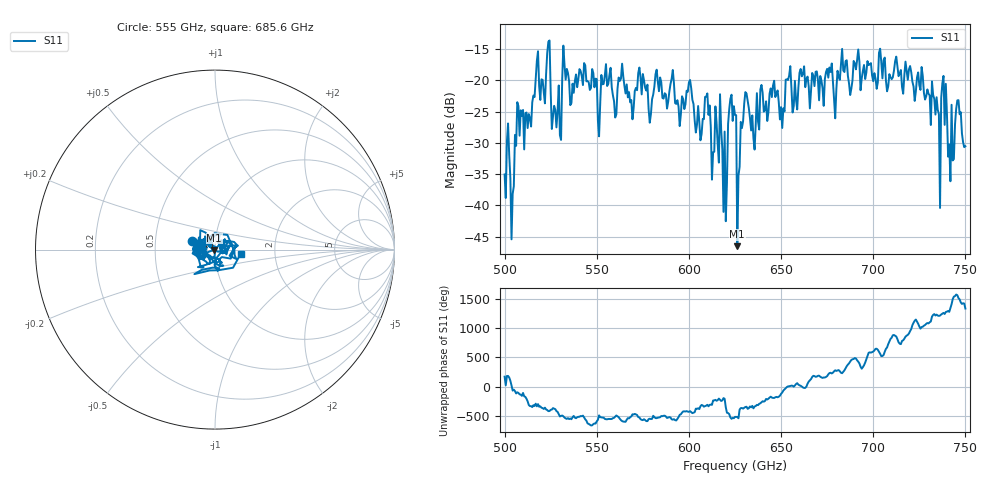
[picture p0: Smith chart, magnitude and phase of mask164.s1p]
!Created with skrf (http://scikit-rf.org).
# GHz S MA R 50.0
!freq magS11 angS11
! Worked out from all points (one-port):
!   401 points, 500 GHz to 750 GHz, reference 50 ohm
!   lowest |S11| = -46.5 dB at 626.2 GHz (marker M1), VSWR 1.01, Z = 49.6 - j0.143 ohm
!   |S11| at or under -10 dB: start of sweep to end of sweep
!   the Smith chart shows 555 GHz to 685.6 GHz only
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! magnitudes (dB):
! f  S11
! 500 GHz  -35.1
! 503.8 GHz  -45.4
! 508.1 GHz  -28.9
! 513.8 GHz  -26.1
! 517.5 GHz  -16.9
! 523.8 GHz  -13.8
! 526.9 GHz  -24.1
! 531.2 GHz  -19.8
! 533.1 GHz  -19.9
! 562.5 GHz  -20.1
! 593.8 GHz  -23.2
! 610 GHz  -22.1
! 612.5 GHz  -35.9
! 618.1 GHz  -31.0
! 619.4 GHz  -28.2
! 622.5 GHz  -23.0
! 625 GHz  -25.5
! 626.2 GHz  -46.5
! 631.2 GHz  -22.1
! 635 GHz  -29.2
! 656.2 GHz  -25.1
! 687.5 GHz  -22.4
! 718.8 GHz  -19.9
! 735 GHz  -24.7
! 738.1 GHz  -19.3
! 741.9 GHz  -36.1
! 746.2 GHz  -23.2
! 750 GHz  -30.5
